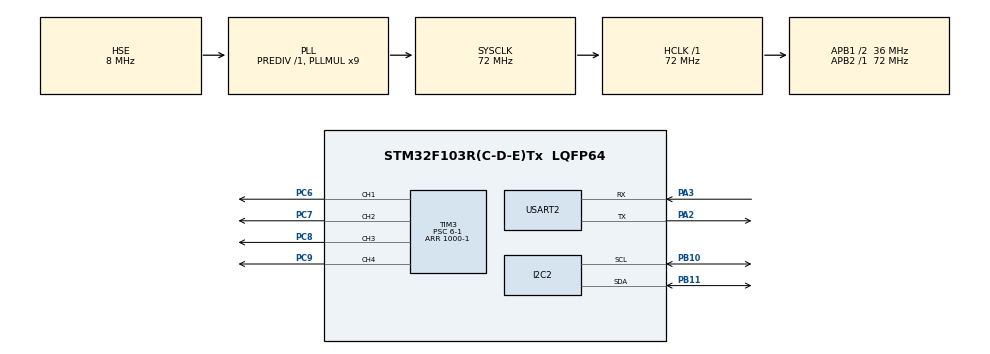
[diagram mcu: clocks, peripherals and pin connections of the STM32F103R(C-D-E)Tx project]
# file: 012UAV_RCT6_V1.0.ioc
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Mcu.Family=STM32F1
Mcu.Name=STM32F103R(C-D-E)Tx
Mcu.Package=LQFP64
NVIC.PriorityGroup=NVIC_PRIORITYGROUP_4
NVIC.TIM4_IRQn=true\:0\:0\:true\:false\:true\:true\:true\:true
NVIC.TIM6_IRQn=true\:0\:0\:false\:false\:true\:true\:true\:true
NVIC.USART2_IRQn=true\:1\:0\:true\:false\:true\:true\:true\:true
PA13.Mode=Serial_Wire
PA13.Signal=SYS_JTMS-SWDIO
PA14.Mode=Serial_Wire
PA14.Signal=SYS_JTCK-SWCLK
PA2.Mode=Asynchronous
PA2.Signal=USART2_TX
PA3.Mode=Asynchronous
PA3.Signal=USART2_RX
PB10.Mode=I2C
PB10.Signal=I2C2_SCL
PB11.Mode=I2C
PB11.Signal=I2C2_SDA
PC14-OSC32_IN.Mode=LSE-External-Oscillator
PC14-OSC32_IN.Signal=RCC_OSC32_IN
PC15-OSC32_OUT.Mode=LSE-External-Oscillator
PC15-OSC32_OUT.Signal=RCC_OSC32_OUT
PC6.Signal=S_TIM3_CH1
PC7.Signal=S_TIM3_CH2
PC8.Signal=S_TIM3_CH3
PC9.Signal=S_TIM3_CH4
PD0-OSC_IN.Mode=HSE-External-Oscillator
PD0-OSC_IN.Signal=RCC_OSC_IN
PD1-OSC_OUT.Mode=HSE-External-Oscillator
PD1-OSC_OUT.Signal=RCC_OSC_OUT
ProjectManager.HeapSize=0x200
ProjectManager.StackSize=0x400
ProjectManager.TargetToolchain=STM32CubeIDE
RCC.AHBFreq_Value=72000000
RCC.APB1CLKDivider=RCC_HCLK_DIV2
RCC.APB1Freq_Value=36000000
RCC.APB1TimFreq_Value=72000000
RCC.APB2Freq_Value=72000000
RCC.APB2TimFreq_Value=72000000
RCC.HCLKFreq_Value=72000000
RCC.PLLMUL=RCC_PLL_MUL9
RCC.PLLSourceVirtual=RCC_PLLSOURCE_HSE
RCC.SYSCLKFreq_VALUE=72000000
RCC.SYSCLKSource=RCC_SYSCLKSOURCE_PLLCLK
RCC.USBFreq_Value=72000000
SH.S_TIM3_CH1.0=TIM3_CH1,PWM Generation1 CH1
SH.S_TIM3_CH2.0=TIM3_CH2,PWM Generation2 CH2
SH.S_TIM3_CH3.0=TIM3_CH3,PWM Generation3 CH3
SH.S_TIM3_CH4.0=TIM3_CH4,PWM Generation4 CH4
TIM3.Channel-PWM\ Generation1\ CH1=TIM_CHANNEL_1
TIM3.Channel-PWM\ Generation2\ CH2=TIM_CHANNEL_2
TIM3.Channel-PWM\ Generation3\ CH3=TIM_CHANNEL_3
TIM3.Channel-PWM\ Generation4\ CH4=TIM_CHANNEL_4
TIM3.Period=1000-1
TIM3.Prescaler=6-1
TIM4.Period=100-1
TIM4.Prescaler=720-1
TIM6.Period=10000-1
TIM6.Prescaler=7200-1
USART2.VirtualMode=VM_ASYNC
VP_TIM3_VS_ClockSourceINT.Mode=Internal
VP_TIM4_VS_ClockSourceINT.Mode=Internal
VP_TIM6_VS_ClockSourceINT.Mode=Enable_Timer
board=custom

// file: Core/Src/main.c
/* USER CODE BEGIN Header */
/**
  ******************************************************************************
  * @file           : main.c
  * @brief          : Main program body
  ******************************************************************************
  * @attention
  *
  * Copyright (c) 2025 STMicroelectronics.
  * All rights reserved.
  *
  * This software is licensed under terms that can be found in the LICENSE file
  * in the root directory of this software component.
  * If no LICENSE file comes with this software, it is provided AS-IS.
  *
  *	作者							XPQH CQX LSL		2025.10.17
  *								UAVF22无人机悬停，在17号首次实现悬停，注意要系绳子，悬停时间4s，可自行设置时间
  *全新改版优化V3.0 作为独立文件，从3.0开始命名		2025.11.8
  *新增: 增量式pid文件
  *优化内容1：  修改了角速度读取的位置，改为了中断里面读取(原在while循坏)
  *优化内容2：  修改角速度pid函数，从原先的普通pid改为了增量pid函数
  *优化内容3：  中断时间从10ms改为1ms(1KHz), 中断计时标志相应修改
  *优化内容4：  对角度pid进行了分频(5分频, 200Hz)， 并且对调角度环和角速度环的上下位置关系
  *
  *小幅优化内容5：pid限幅直接在初始化pid_init时定义
  *小幅优化内容6：移除了安全机制的while循环里面的pwm函数
  *
  *								STM32F103RCT6+MPU6050+DMP+串级PID
  ******************************************************************************
  */
/* USER CODE END Header */
#include "main.h"
#include "i2c.h"
#include "tim.h"
#include "usart.h"
#include "gpio.h"

/* USER CODE BEGIN Includes */
#include <stdio.h>
#include <string.h>

#include "MPU6050.h"
#include "pid_study.h"
#include "pid_incremental.h"
/* USER CODE END Includes */

/* USER CODE BEGIN PTD */

// 中断PID控制变量
volatile float roll_isr, pitch_isr, yaw_isr;
volatile float gyro_x_isr, gyro_y_isr, gyro_z_isr;
volatile uint8_t sensor_data_ready = 0;  // 传感器数据就绪标志
volatile uint8_t pid_calc_done = 0;      // PID计算完成标志

/* USER CODE END PTD */

/* USER CODE BEGIN PV */

 /*——————————————————————————————————————————————————PID调参入口————————————————————————————————————————————————————————————*/
	//串级PID就是:第一级输出, 当作第二级输入用, 二级响应速度尽可能大于一级即可当串级PID
	//角度为第一级 角速度为第二级
	//可选优化：占空比设置最大5000,将调节精度由原来的1/1000 提高到1/5000

#define PX0_OFFSET 0		//预设0 			初始角度补偿，根据传感器实际误差进行补偿，每一个6050的初始偏移不一样
#define	RY0_OFFSET 0		//预设0

#define GX0_OFFSET -1.4922	//预设+1.4922	同理
#define GY0_OFFSET -0.682	//预设-0.682
#define GZ0_OFFSET -2		//预设0

  //								角度	参数
  //KGain代表K增益，也就是我们调的参数
  PID_KpidGain pid_KGain_roll 	= {.Kp = 3.3, .Ki = 0.10, .Kd = 0.02};
  PID_KpidGain pid_KGain_pitch 	= {.Kp = 3.3, .Ki = 0.10, .Kd = 0.02};
  PID_KpidGain pid_KGain_yaw 	= {.Kp = 0.00, .Ki = 0.00, .Kd = 0.00};
  PID_State pid_state_roll, pid_state_pitch, pid_state_yaw;

  //								角速度参数
  PID_KpidGain_Inc pid_KGain_GyroX 	= {.Kp = 2.1415926, .Ki = 0.122769, .Kd = 0.0269125};
  PID_KpidGain_Inc pid_KGain_GyroY 	= {.Kp = 3.1415926, .Ki = 0.122769, .Kd = 0.0269125};
  PID_KpidGain_Inc pid_KGain_GyroZ 	= {.Kp = 2.5, .Ki = 0.1, .Kd = 0.01};
  PID_State_Inc pid_stateInc_GyroX, pid_stateInc_GyroY, pid_stateInc_GyroZ;

/*——————————————————————————————————————————————————PID调参结束————————————————————————————————————————————————————————————*/

/* USER CODE END PV */

void SystemClock_Config(void);

int main(void)
{

  /* MCU Configuration--------------------------------------------------------*/

  /* Reset of all peripherals, Initializes the Flash interface and the Systick. */
  HAL_Init();

  /* Configure the system clock */
  SystemClock_Config();

  /* Initialize all configured peripherals */
  MX_GPIO_Init();
  MX_I2C2_Init();
  MX_USART2_UART_Init();
  MX_TIM3_Init();
  MX_TIM4_Init();
  MX_TIM6_Init();
  /* USER CODE BEGIN 2 */

  HAL_Delay(2000);
  int ret = 0;
  do {
	ret = MPU6050_DMP_init();
  } while (ret);

  //初始化PID
  //Y坐标轴 横滚		0目标角度，200是上限
  PID_Init(&pid_state_roll, 0, 200, -200);
  //X坐标轴 俯仰
  PID_Init(&pid_state_pitch, 0, 200, -200);
  //Z坐标轴
  PID_Init(&pid_state_yaw, 0, 200, -200);

  //角速度反馈初始化
  PID_Inc_Init(&pid_stateInc_GyroX, pid_state_pitch.output, 100, -100);
  PID_Inc_Init(&pid_stateInc_GyroY, pid_state_roll.output, 100, -100);
  PID_Inc_Init(&pid_stateInc_GyroZ, pid_state_yaw.output, 100, -100);

  //启动电机PWM 占空比满载999
  HAL_TIM_PWM_Start(&htim3, TIM_CHANNEL_1);
  HAL_TIM_PWM_Start(&htim3, TIM_CHANNEL_2);
  HAL_TIM_PWM_Start(&htim3, TIM_CHANNEL_3);
  HAL_TIM_PWM_Start(&htim3, TIM_CHANNEL_4);

  HAL_TIM_Base_Start_IT(&htim4);

  /* USER CODE END 2 */

  /* Infinite loop */
  /* USER CODE BEGIN WHILE */

  //	横滚	  偏航  俯仰
  float roll, yaw, pitch;
  char message[4096];
  while (1)
  {
    /* USER CODE END WHILE */

    /* USER CODE BEGIN 3 */
	  //获取角度数据(单位：度)
	  MPU6050_DMP_Get_Date(&roll, &pitch, &yaw);

	    // 更新中断使用的全局变量
	    roll_isr = roll;
	    pitch_isr = pitch;
	    yaw_isr = yaw;

	    sensor_data_ready = 1;  // 设置数据就绪标志

#if 1		//串口调试信息输出到串口，使用Vofa+软件，方便.   		不调试，		令if 0     需要调试if 1
	    sprintf(message, "%.4f,%.4f,%.4f,%.4f,%.4f,%.4f\n",gyro_x_isr, gyro_y_isr, gyro_z_isr, pitch, roll, yaw);
	    HAL_UART_Transmit_IT(&huart2, (uint8_t*)message, strlen(message));
#endif
  }
  /* USER CODE END 3 */
}

void SystemClock_Config(void)
{
  RCC_OscInitTypeDef RCC_OscInitStruct = {0};
  RCC_ClkInitTypeDef RCC_ClkInitStruct = {0};

  /** Initializes the RCC Oscillators according to the specified parameters
  * in the RCC_OscInitTypeDef structure.
  */
  RCC_OscInitStruct.OscillatorType = RCC_OSCILLATORTYPE_HSE;
  RCC_OscInitStruct.HSEState = RCC_HSE_ON;
  RCC_OscInitStruct.HSEPredivValue = RCC_HSE_PREDIV_DIV1;
  RCC_OscInitStruct.HSIState = RCC_HSI_ON;
  RCC_OscInitStruct.PLL.PLLState = RCC_PLL_ON;
  RCC_OscInitStruct.PLL.PLLSource = RCC_PLLSOURCE_HSE;
  RCC_OscInitStruct.PLL.PLLMUL = RCC_PLL_MUL9;
  if (HAL_RCC_OscConfig(&RCC_OscInitStruct) != HAL_OK)
  {
    Error_Handler();
  }

  /** Initializes the CPU, AHB and APB buses clocks
  */
  RCC_ClkInitStruct.ClockType = RCC_CLOCKTYPE_HCLK|RCC_CLOCKTYPE_SYSCLK
                              |RCC_CLOCKTYPE_PCLK1|RCC_CLOCKTYPE_PCLK2;
  RCC_ClkInitStruct.SYSCLKSource = RCC_SYSCLKSOURCE_PLLCLK;
  RCC_ClkInitStruct.AHBCLKDivider = RCC_SYSCLK_DIV1;
  RCC_ClkInitStruct.APB1CLKDivider = RCC_HCLK_DIV2;
  RCC_ClkInitStruct.APB2CLKDivider = RCC_HCLK_DIV1;

  if (HAL_RCC_ClockConfig(&RCC_ClkInitStruct, FLASH_LATENCY_2) != HAL_OK)
  {
    Error_Handler();
  }
}

/* USER CODE BEGIN 4 */

//在定时器里面确保PID更新时间是严格的1ms
void HAL_TIM_PeriodElapsedCallback(TIM_HandleTypeDef *htim){

    if (htim->Instance == TIM4)  // 确认是PID定时器
    {
        static uint32_t pid_counter = 0;
        static uint32_t safety_timer = 0;      // 安全计时器
        static uint8_t safety_triggered = 0;   // 安全触发标志
        pid_counter++;

        // 安全计时：每次中断增加1ms
          safety_timer++;

          // 检查是否触发安全机制（4秒超时）
          if (safety_timer >= 8000) {  // 4000 * 1ms = 4秒
              safety_triggered = 1;
          }

          // 如果安全机制已触发，立即停止所有电机并进入死循环
          if (safety_triggered) {
              // 立即停止所有电机
              __HAL_TIM_SET_COMPARE(&htim3, TIM_CHANNEL_1, 0);
              __HAL_TIM_SET_COMPARE(&htim3, TIM_CHANNEL_2, 0);
              __HAL_TIM_SET_COMPARE(&htim3, TIM_CHANNEL_3, 0);
              __HAL_TIM_SET_COMPARE(&htim3, TIM_CHANNEL_4, 0);

              // 死循环 - 系统停止
              while(1) {}
          }

        // 检查传感器数据是否就绪
        if (sensor_data_ready && !safety_triggered)
        {
            // 重置标志
            sensor_data_ready = 0;

            /*========== PID计算核心部分 ==========*/

            // 角速度环PID - 内环 2025.11.8改至中断内读取
            //由于角度进行了5分频，此时角速度应该放在角度上方
            MPU6050_Get_Gyro(&gyro_x_isr, &gyro_y_isr, &gyro_z_isr);
            /*MPU6050_Get_Accel(&accel_x_isr, &accel_y_isr, &accel_z_isr);*/

            pid_stateInc_GyroX.target = -pid_state_pitch.output;  // 俯仰角度输出 -> X轴角速度目标
            pid_stateInc_GyroY.target = -pid_state_roll.output;   // 横滚角度输出 -> Y轴角速度目标
            pid_stateInc_GyroZ.target = -pid_state_yaw.output;

            float gyro_x_calib = gyro_x_isr + GX0_OFFSET;
            float gyro_y_calib = gyro_y_isr + GY0_OFFSET;
            float gyro_z_calib = gyro_z_isr + GZ0_OFFSET;

            pid_stateInc_GyroX.actual = gyro_x_calib;
            pid_stateInc_GyroY.actual = gyro_y_calib;
            pid_stateInc_GyroZ.actual = gyro_z_calib;

            pid_stateInc_GyroX = PID_Inc_Iterate(pid_KGain_GyroX, pid_stateInc_GyroX);
            pid_stateInc_GyroY = PID_Inc_Iterate(pid_KGain_GyroY, pid_stateInc_GyroY);
            pid_stateInc_GyroZ = PID_Inc_Iterate(pid_KGain_GyroZ, pid_stateInc_GyroZ);

            // 角度环PID - 外环  对角度pid频率进行5分频，非常容易实现
            static uint32_t pid_angle_count = 0;
            static uint32_t pid_angle_FD = 5;
            pid_angle_count++;
            if((pid_angle_count % pid_angle_FD) == 0){
    			pid_state_roll.target = 1;
    			pid_state_pitch.target = 5;

                float roll_calib = roll_isr + RY0_OFFSET;
    			float pitch_calib = pitch_isr + PX0_OFFSET;

                pid_state_roll.actual = roll_calib;
                pid_state_pitch.actual = pitch_calib;

                pid_state_roll = PID_Iterate(pid_KGain_roll, pid_state_roll);
                pid_state_pitch = PID_Iterate(pid_KGain_pitch, pid_state_pitch);

            }
      	  /*
      	   * 			  Roll(横滚角)				逆时针为数据正
      	   * 					Y^+					陀螺仪逆时针反而是负
      	   * 					|
      	   * 			FL	 	|	 	FR
      	   * 					|
      	   * 	---------Z(垂直于纸面向外)---------------->X Pitch(俯仰角)
      	   * 					|							+
      	   * 					|
      	   * 			BL		|	 	BR
      	   * 					|
      	   * 		PWM控制区 UAVF22四旋翼无人机
      	   * */

            /*========== PWM输出计算 ==========*/
            int PID_GyroX_OUT = (int)pid_stateInc_GyroX.output;
            int PID_GyroY_OUT = (int)pid_stateInc_GyroY.output;
            int	PID_GyroZ_OUT = (int)pid_stateInc_GyroZ.output;

            // 基础PWM值
            uint16_t base_pwm_value = 710;

            //易知，电机最终PWM，就是XYZ三者角速度PID输出的叠加的结果
            uint16_t PWM_FL = base_pwm_value + PID_GyroX_OUT + PID_GyroY_OUT + PID_GyroZ_OUT;
            uint16_t PWM_FR = base_pwm_value + PID_GyroX_OUT - PID_GyroY_OUT - PID_GyroZ_OUT;
            uint16_t PWM_BL = base_pwm_value - PID_GyroX_OUT + PID_GyroY_OUT - PID_GyroZ_OUT;
            uint16_t PWM_BR = base_pwm_value - PID_GyroX_OUT - PID_GyroY_OUT + PID_GyroZ_OUT;

            // PWM限幅
            if(PWM_FL > 1000) PWM_FL = 999;
            if(PWM_FL < 0) PWM_FL = 0;
            if(PWM_FR > 1000) PWM_FR = 999;
            if(PWM_FR < 0) PWM_FR = 0;
            if(PWM_BL > 1000) PWM_BL = 999;
            if(PWM_BL < 0) PWM_BL = 0;
            if(PWM_BR > 1000) PWM_BR = 999;
            if(PWM_BR < 0) PWM_BR = 0;

            // 更新PWM输出
            __HAL_TIM_SET_COMPARE(&htim3, TIM_CHANNEL_1, PWM_FL);
            __HAL_TIM_SET_COMPARE(&htim3, TIM_CHANNEL_2, PWM_FR);
            __HAL_TIM_SET_COMPARE(&htim3, TIM_CHANNEL_3, PWM_BR);
            __HAL_TIM_SET_COMPARE(&htim3, TIM_CHANNEL_4, PWM_BL);

            pid_calc_done = 1;  // 设置计算完成标志

        }

    }
}

/* USER CODE END 4 */

void Error_Handler(void)
{
  __disable_irq();
  while (1)
  {
  }
}
